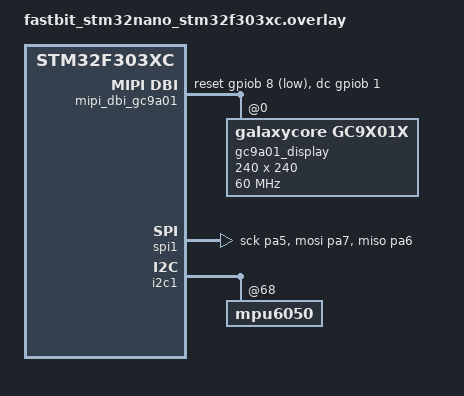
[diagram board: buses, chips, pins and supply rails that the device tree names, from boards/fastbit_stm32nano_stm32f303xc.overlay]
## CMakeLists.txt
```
#-------------------------------------------------------------------------------
# Zephyr Example Application
#
# Copyright (c) 2021 Nordic Semiconductor ASA
# SPDX-License-Identifier: Apache-2.0

cmake_minimum_required(VERSION 3.13.1)
find_package(Zephyr REQUIRED HINTS $ENV{ZEPHYR_BASE})

project(app LANGUAGES C)

target_include_directories(app PRIVATE include)

target_sources(app PRIVATE
    src/main.c
    src/display.c
    src/game.c
    src/render.c
    src/input.c
    src/util.c
)

target_sources_ifdef(CONFIG_INPUT_BACKEND_TILT app PRIVATE src/input_tilt.c)
```

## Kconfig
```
# Copyright (c) 2021 Nordic Semiconductor ASA
# SPDX-License-Identifier: Apache-2.0
#
# This file is the application Kconfig entry point. All application Kconfig
# options can be defined here or included via other application Kconfig files.
# You can browse these options using the west targets menuconfig (terminal) or
# guiconfig (GUI).

menu "Zephyr"
source "Kconfig.zephyr"
endmenu

menu "Tilt Brick Breaker"

menu "Input"

choice INPUT_BACKEND
	prompt "Input backend"
	default INPUT_BACKEND_TILT
	help
	  Selects which hardware input method controls the paddle.
	  Only one backend is compiled at a time.

config INPUT_BACKEND_TILT
	bool "MPU6050 tilt sensor"
	select I2C
	select SENSOR
	help
	  Use the onboard MPU6050 accelerometer for paddle control via
	  board tilt.  Tilt tuning options appear under "Tilt Input" below.

config INPUT_BACKEND_BUTTONS
	bool "Button input (future)"
	help
	  Placeholder for a future push-button or joystick input backend.
	  Not yet implemented.

endchoice

endmenu # Input

if INPUT_BACKEND_TILT

menu "Tilt Input"

config TILT_AXIS
	int "Accelerometer axis for paddle control (0=X 1=Y 2=Z)"
	range 0 2
	default 0
	help
	  Selects which MPU6050 accelerometer axis is read for left/right
	  paddle control.
	    0 = X axis (default -- horizontal, points right of board)
	    1 = Y axis (vertical, points toward top of board)
	    2 = Z axis (out-of-plane, points toward viewer)
	  See docs/spec.md section "Device Orientation" for the axis layout.

config TILT_INVERT
	bool "Invert tilt axis reading"
	default y
	help
	  Inverts the selected axis reading before mapping to paddle direction.
	    n = no inversion (positive reading -> paddle moves in positive direction)
	    y = invert       (positive reading -> paddle moves in negative direction)
	  Default: y -- on this board lifting the right side (+X up) produces a
	  negative X reading; inverting it gives right-side-up -> paddle right.
	  See docs/spec.md section "Tilt-to-Paddle Mapping".

config TILT_AXIS_SWAP
	bool "Swap X and Y accelerometer axes"
	default n
	help
	  Exchanges the X and Y channel values before any other processing.
	  Enable if the board is physically rotated 90 degrees from the
	  expected playing orientation described in docs/spec.md.
	    n = no swap (default -- normal playing orientation)
	    y = swap X and Y

config TILT_CALIBRATION_ENABLE
	bool "Enable startup tilt calibration"
	default y
	help
	  When enabled, the application averages several accelerometer readings
	  at power-on and subtracts that bias from all subsequent tilt values.
	  Compensates for sensor offset or a non-level resting position.
	    n = disabled (assume sensor bias is negligible)
	    y = enabled  (recommended -- reads TILT_CALIBRATION_SAMPLES samples)

config TILT_CALIBRATION_SAMPLES
	int "Number of calibration samples averaged at startup"
	depends on TILT_CALIBRATION_ENABLE
	range 1 256
	default 32
	help
	  Number of accelerometer samples averaged to establish the neutral
	  reference. More samples give a more stable zero but extend boot time.
	  At 100 Hz sample rate (MPU6050_SMPLRT_DIV = 9):
	     8 samples ~  80 ms
	    32 samples ~ 320 ms  (default placeholder)
	   128 samples ~  1.3 s
	  TODO: Confirm on hardware. See docs/spec.md -- Open Questions.

config TILT_DEAD_ZONE_MG
	int "Tilt dead zone threshold (milli-g)"
	range 0 500
	default 50
	help
	  Tilt readings whose absolute value is below this threshold are forced
	  to zero, preventing paddle drift when the board is held nearly level.
	  Units: milli-g  (1000 mg = 1 g = approx 9.81 m/s^2)
	     0 = dead zone disabled
	    20 = very small dead zone
	    50 = gentle dead zone (default placeholder)
	   100 = large dead zone, tolerates hand tremor well
	  TODO: Tune on hardware. See docs/spec.md -- Open Questions.

config TILT_LPF_ALPHA_PCT
	int "Low-pass filter alpha as a percentage (0-100)"
	range 0 100
	default 20
	help
	  Exponential moving average smoothing factor expressed as a percentage,
	  where 100 represents alpha = 1.0 (no filtering).
	  Applied each sample: filtered = alpha*raw + (1-alpha)*filtered_prev
	  In code use the TILT_LPF_ALPHA float helper from include/config.h,
	  which performs the conversion: alpha = TILT_LPF_ALPHA_PCT / 100.0f
	  Higher value -> more responsive, retains more jitter.
	  Lower value  -> smoother output, adds lag.
	   100 = filter disabled (raw reading)
	    50 = moderate smoothing
	    20 = strong smoothing (default placeholder)
	    10 = heavy smoothing, noticeably sluggish
	  TODO: Tune on hardware. See docs/spec.md -- Open Questions.

config TILT_MAX_MG
	int "Maximum tilt clamp (milli-g)"
	range 100 1000
	default 500
	help
	  Tilt magnitudes above this value (after the dead zone is removed) are
	  clamped before being normalised to a [0.0, 1.0] paddle velocity factor.
	  Defines the tilt angle that corresponds to full paddle speed.
	  Units: milli-g  (must be greater than TILT_DEAD_ZONE_MG)
	   300 = sensitive  (small tilt angle -> full paddle speed)
	   500 = moderate   (approx 30 degrees for full speed, default placeholder)
	   700 = requires a large deliberate tilt for full speed
	  TODO: Tune on hardware. See docs/spec.md -- Open Questions.

endmenu # Tilt Input

endif # INPUT_BACKEND_TILT

menu "Display"

menu "Display Geometry"

config DISPLAY_WIDTH
	int "Display width in pixels"
	range 1 65535
	default 240
	help
	  Horizontal resolution of the GC9A01 panel in pixels.
	  The GC9A01 native resolution is 240×240.

config DISPLAY_HEIGHT
	int "Display height in pixels"
	range 1 65535
	default 240
	help
	  Vertical resolution of the GC9A01 panel in pixels.
	  The GC9A01 native resolution is 240×240.

config DISPLAY_X_OFFSET
	int "Display column start offset"
	range 0 255
	default 0
	help
	  Column address offset applied when writing to the GC9A01 frame memory.
	  Non-zero only for misaligned knockoff panels where the visible area does
	  not start at column 0.

config DISPLAY_Y_OFFSET
	int "Display row start offset"
	range 0 255
	default 0
	help
	  Row address offset applied when writing to the GC9A01 frame memory.
	  Non-zero only for misaligned knockoff panels where the visible area does
	  not start at row 0.

endmenu # Display Geometry

menu "Display Orientation"

choice DISPLAY_ROTATION
	prompt "Display rotation"
	default DISPLAY_ROTATION_270
	help
	  Maps to the MADCTL register (0x36) MV/MX/MY bits in the GC9A01.
	  Try all four if the image is upside-down or mirrored on first boot.
	  Use west build -t menuconfig to change without touching source code.
	  See docs/spec.md section "GC9A01 Display Orientation" for the bit table.

config DISPLAY_ROTATION_0
	bool "0 degrees (default power-on)"
	help
	  MADCTL: MV=0 MX=0 MY=0.  Normal scan order; GC9A01 power-on default.

config DISPLAY_ROTATION_90
	bool "90 degrees clockwise"
	help
	  MADCTL: MV=1 MX=1 MY=0.  Row/column axes swapped, columns mirrored.

config DISPLAY_ROTATION_180
	bool "180 degrees"
	help
	  MADCTL: MV=0 MX=1 MY=1 (+MH).  Both row and column order reversed.

config DISPLAY_ROTATION_270
	bool "270 degrees clockwise"
	help
	  MADCTL: MV=1 MX=0 MY=1.  Row/column axes swapped, rows mirrored.

endchoice # DISPLAY_ROTATION

config DISPLAY_MIRROR_X
	bool "Mirror X axis (MADCTL MX bit)"
	default n
	help
	  Flips the horizontal axis independently of the rotation preset.
	  Enable if the image is horizontally mirrored after selecting the
	  correct rotation.
	    n = no horizontal flip (default)
	    y = flip left/right

config DISPLAY_MIRROR_Y
	bool "Mirror Y axis (MADCTL MY bit)"
	default n
	help
	  Flips the vertical axis independently of the rotation preset.
	  Enable if the image is vertically mirrored after selecting the
	  correct rotation.
	    n = no vertical flip (default)
	    y = flip top/bottom

config DISPLAY_SWAP_XY
	bool "Swap X/Y scan direction (MADCTL MV bit)"
	default n
	help
	  Exchanges row and column scan directions independently of the rotation
	  preset.  Enable if width and height appear transposed on screen.
	    n = normal scan order (default)
	    y = swap X and Y scan directions

config DISPLAY_BGR_ORDER
	bool "Use BGR colour byte order (MADCTL BGR bit)"
	default y
	help
	  Controls colour byte order sent to the GC9A01 panel.
	  The GC9A01 data sheet specifies a BGR panel; disable only if rendered
	  colours appear with red and blue channels swapped.
	    y = BGR order (default — matches GC9A01 panel)
	    n = RGB order

endmenu # Display Orientation

menu "Circular Display Safe Area"

config DISPLAY_IS_CIRCULAR
	bool "Display has a circular visible area"
	default y
	help
	  The GC9A01 module has a round glass; pixels outside the inscribed
	  circle are not visible.  Enabling this flag lets the renderer skip
	  drawing outside the circle, saving time and avoiding artefacts at
	  the panel edges.
	    y = circular mask active (default — GC9A01 round panel)
	    n = treat display as a full rectangle

config DISPLAY_CIRCLE_RADIUS
	int "Circular display radius in pixels"
	depends on DISPLAY_IS_CIRCULAR
	range 1 32767
	default 120
	help
	  Radius of the circular visible area in pixels.
	  Default 120 = half of the 240-pixel GC9A01 resolution.
	  Adjust if the visible circle does not fill the frame exactly.

config DISPLAY_CIRCLE_CENTER_X
	int "Circular display centre — X (column)"
	depends on DISPLAY_IS_CIRCULAR
	range 0 32767
	default 120
	help
	  Pixel column of the centre of the circular visible area.
	  Default 120 = centre of the 240-pixel-wide GC9A01 frame.

config DISPLAY_CIRCLE_CENTER_Y
	int "Circular display centre — Y (row)"
	depends on DISPLAY_IS_CIRCULAR
	range 0 32767
	default 120
	help
	  Pixel row of the centre of the circular visible area.
	  Default 120 = centre of the 240-pixel-tall GC9A01 frame.

endmenu # Circular Display Safe Area

endmenu # Display

endmenu # Tilt Brick Breaker

module = APP
module-str = APP
source "subsys/logging/Kconfig.template.log_config"
```

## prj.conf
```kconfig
# Copyright (c) 2021 Nordic Semiconductor ASA
# SPDX-License-Identifier: Apache-2.0
#
# This file contains selected Kconfig options for the application.

CONFIG_UART_CONSOLE=y
CONFIG_STDOUT_CONSOLE=y
CONFIG_DISPLAY=y
CONFIG_SPI=y
CONFIG_I2C=y
CONFIG_SENSOR=y
CONFIG_MPU6050_TRIGGER_NONE=y
CONFIG_INPUT_BACKEND_TILT=y
```

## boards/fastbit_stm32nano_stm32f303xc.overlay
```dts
#include <zephyr/dt-bindings/display/panel.h>

/* Fix 1b: HSI PLL → 64 MHz SYSCLK (max from HSI).
 * HSI (8 MHz) / 2 (fixed F3 divider) × 16 = 64 MHz.
 * APB2 = 64 MHz → SPI1 DIV2 = 32 MHz (was 4 MHz → 8× faster).
 * IMPORTANT: Must use pristine build (`west build -p`) when changing
 * clock-frequency so CONFIG_SYS_CLOCK_HW_CYCLES_PER_SEC updates
 * and flash wait states are set correctly (2 WS for >48 MHz).
 */
&clk_hsi {
    status = "okay";
};

&pll {
    prediv = <1>;
    mul = <16>;
    clocks = <&clk_hsi>;
    status = "okay";
};

&rcc {
    clocks = <&pll>;
    clock-frequency = <DT_FREQ_M(64)>;
    ahb-prescaler  = <1>;
    apb1-prescaler = <2>;
    apb2-prescaler = <1>;
};

/ {
    chosen {
        zephyr,display = &gc9a01_display;
    };

    mipi_dbi_gc9a01 {
        compatible = "zephyr,mipi-dbi-spi";
        spi-dev = <&spi1>;
        dc-gpios    = <&gpiob 1 GPIO_ACTIVE_HIGH>;
        reset-gpios = <&gpiob 8 GPIO_ACTIVE_LOW>;
        write-only;
        #address-cells = <1>;
        #size-cells = <0>;

        gc9a01_display: gc9a01@0 {
            compatible = "galaxycore,gc9x01x";
            reg = <0>;
            mipi-max-frequency = <DT_FREQ_M(60)>;
            width  = <240>;
            height = <240>;
            display-inversion;
            pixel-format = <PANEL_PIXEL_FORMAT_RGB_565>;
        };
    };
};

&spi1 {
    status = "okay";
    pinctrl-0 = <&spi1_sck_pa5 &spi1_mosi_pa7 &spi1_miso_pa6>;
    pinctrl-names = "default";
    cs-gpios = <&gpioa 4 GPIO_ACTIVE_LOW>;
};

/* Set MPU6050 accelerometer sample rate to 100 Hz (1000 / (1+9)).
 * The mpu6050@68 node already exists in the board DTS under &i2c1. */
&i2c1 {
    mpu6050@68 {
        smplrt-div = <9>;
    };
};
```

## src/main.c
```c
#include <zephyr/kernel.h>
#include "display.h"
#include "game.h"
#include "render.h"
#include "input.h"
#include "config.h"

int main(void)
{
	int ret = display_module_init();
	if (ret) { return ret; }

	/* Init input during startup screen to hide calibration delay */
	ret = input_init();
	if (ret) { return ret; }

	screen_draw_startup();
	k_msleep(2000);

	for (int i = 3; i >= 1; i--) {
		screen_draw_countdown(i);
		k_msleep(1000);
	}

	/* Initialize game state */
	static struct game_ctx ctx;
	game_init(&ctx);

	/* Initial full render */
	screen_draw_gameplay(ctx.bricks, ctx.paddle_x, ctx.ball_x, ctx.ball_y,
			     ctx.score, ctx.lives);

	/* Game loop */
	struct game_event_data evt;
	int64_t next_tick = k_uptime_get();

	while (ctx.state == GAME_STATE_RUNNING) {
		next_tick += FRAME_MS;

		game_events_t events = game_update(&ctx, input_read(), &evt);

		if (ctx.state != GAME_STATE_RUNNING) {
			break;
		}

		int pause_ms = render_frame(&ctx, events, &evt);

		if (pause_ms > 0) {
			k_msleep(pause_ms);
			next_tick = k_uptime_get();
			continue;
		}

		/* Frame timing — drop missed frames to keep speed consistent */
		int64_t now = k_uptime_get();
		int64_t remaining = next_tick - now;
		if (remaining > 0) {
			k_msleep((int32_t)remaining);
		} else {
			next_tick = now;
		}
	}

	/* End screen */
	screen_draw_end(ctx.state == GAME_STATE_WON, ctx.score);

	while (true) { k_msleep(1000); }
	return 0;
}
```

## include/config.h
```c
/*
 * config.h — User-configurable application settings
 *
 * Device orientation and tilt mapping settings are configured via Kconfig.
 * Browse and change them with: west build -t menuconfig
 * Look under "Tilt Brick Breaker" > "Tilt Input".
 *
 * This file contains only settings that cannot be expressed in Kconfig:
 *   - TILT_LPF_ALPHA: float conversion helper for CONFIG_TILT_LPF_ALPHA_PCT
 *     (Kconfig has no float type).
 *
 * All defaults are derived from docs/spec.md.
 */

#ifndef INCLUDE_CONFIG_H_
#define INCLUDE_CONFIG_H_

/* --------------------------------------------------------------------------
 * TILT_LPF_ALPHA — Float conversion helper for the Kconfig LPF setting
 * --------------------------------------------------------------------------
 * The smoothing factor is stored in Kconfig as an integer percentage
 * (CONFIG_TILT_LPF_ALPHA_PCT, range 0-100) because Kconfig has no float
 * type.  Use this macro in code for the float value; do not use
 * CONFIG_TILT_LPF_ALPHA_PCT directly.
 *
 * To change the value: west build -t menuconfig
 *   -> Tilt Brick Breaker -> Tilt Input -> Low-pass filter alpha percentage
 */
#define TILT_LPF_ALPHA  (CONFIG_TILT_LPF_ALPHA_PCT / 100.0f)

/* --------------------------------------------------------------------------
 * Game configuration — edit these macros to tune gameplay
 * -------------------------------------------------------------------------- */
#define BALL_SPEED_INIT      5      /* ball velocity magnitude (pixels/tick)  */
#define BALL_SPEED_MAX       7      /* maximum ball speed after ramp-up       */
#define SPEED_UP_INTERVAL    6      /* bricks destroyed per speed increase    */
#define LIVES_INIT           3      /* starting number of lives               */
#define BRICK_SCORE          10     /* points awarded per brick destroyed      */
#define FRAME_MS             33     /* target frame period in ms (~30 fps)    */

#endif /* INCLUDE_CONFIG_H_ */
```

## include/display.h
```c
#ifndef INCLUDE_DISPLAY_H_
#define INCLUDE_DISPLAY_H_

#include <stdint.h>
#include <stdbool.h>
#include "game_types.h"

/* Init — call once in main() */
int  display_module_init(void);

/* Primitives */
void draw_pixel(int x, int y, uint16_t color);
void draw_hline(int x, int y, int len, uint16_t color);
void fill_rect(int x, int y, int w, int h, uint16_t color);
void draw_rect_outline(int x, int y, int w, int h, uint16_t color);
void fill_circle(int cx, int cy, int r, uint16_t color);

/* Text (scale=1 -> 5x7 px, scale=2 -> 10x14 px, etc.) */
void draw_char(int x, int y, char c, uint16_t fg, uint16_t bg, uint8_t scale);
void draw_string(int x, int y, const char *s, uint16_t fg, uint16_t bg,
                 uint8_t scale);
void draw_int(int x, int y, int val, uint16_t fg, uint16_t bg, uint8_t scale);
void draw_int_right_aligned(int x_right, int y, int val, uint16_t fg,
                            uint16_t bg, uint8_t scale);

/* Screens */
void screen_clear(uint16_t color);
void screen_draw_startup(void);
void screen_draw_countdown(int n);
void screen_draw_gameplay(const uint8_t bricks[BRICK_ROWS][BRICK_COLS],
                          int paddle_x, int ball_x, int ball_y,
                          int score, int lives);
void screen_draw_end(bool won, int score);

/* Targeted HUD updates — no full-band redraw needed since ball never
 * enters the HUD area (bounces at WALL_TOP = HUD_HEIGHT). */
void screen_update_score(int score);
void screen_erase_heart(int lives_remaining);

/* Brick color for a given row (needed by main.c for brick repair) */
uint16_t gameplay_brick_color(int row);

#endif /* INCLUDE_DISPLAY_H_ */
```

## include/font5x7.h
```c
#ifndef FONT5X7_H
#define FONT5X7_H

#include <stdint.h>

/*
 * Standard 5x7 bitmap font — ASCII 0x20 (space) through 0x7F (DEL).
 * Each glyph is 5 bytes.  Byte N = column N, bit 0 = top row, bit 6 = bottom.
 * Public-domain data (same layout as Arduino / Adafruit GFX).
 */
static const uint8_t font5x7[][5] = {
	/* 0x20 ' ' */ { 0x00, 0x00, 0x00, 0x00, 0x00 },
	/* 0x21 '!' */ { 0x00, 0x00, 0x5F, 0x00, 0x00 },
	/* 0x22 '"' */ { 0x00, 0x07, 0x00, 0x07, 0x00 },
	/* 0x23 '#' */ { 0x14, 0x7F, 0x14, 0x7F, 0x14 },
	/* 0x24 '$' */ { 0x24, 0x2A, 0x7F, 0x2A, 0x12 },
	/* 0x25 '%' */ { 0x23, 0x13, 0x08, 0x64, 0x62 },
	/* 0x26 '&' */ { 0x36, 0x49, 0x55, 0x22, 0x50 },
	/* 0x27 ''' */ { 0x00, 0x05, 0x03, 0x00, 0x00 },
	/* 0x28 '(' */ { 0x00, 0x1C, 0x22, 0x41, 0x00 },
	/* 0x29 ')' */ { 0x00, 0x41, 0x22, 0x1C, 0x00 },
	/* 0x2A '*' */ { 0x14, 0x08, 0x3E, 0x08, 0x14 },
	/* 0x2B '+' */ { 0x08, 0x08, 0x3E, 0x08, 0x08 },
	/* 0x2C ',' */ { 0x00, 0x50, 0x30, 0x00, 0x00 },
	/* 0x2D '-' */ { 0x08, 0x08, 0x08, 0x08, 0x08 },
	/* 0x2E '.' */ { 0x00, 0x60, 0x60, 0x00, 0x00 },
	/* 0x2F '/' */ { 0x20, 0x10, 0x08, 0x04, 0x02 },
	/* 0x30 '0' */ { 0x3E, 0x51, 0x49, 0x45, 0x3E },
	/* 0x31 '1' */ { 0x00, 0x42, 0x7F, 0x40, 0x00 },
	/* 0x32 '2' */ { 0x42, 0x61, 0x51, 0x49, 0x46 },
	/* 0x33 '3' */ { 0x21, 0x41, 0x45, 0x4B, 0x31 },
	/* 0x34 '4' */ { 0x18, 0x14, 0x12, 0x7F, 0x10 },
	/* 0x35 '5' */ { 0x27, 0x45, 0x45, 0x45, 0x39 },
	/* 0x36 '6' */ { 0x3C, 0x4A, 0x49, 0x49, 0x30 },
	/* 0x37 '7' */ { 0x01, 0x71, 0x09, 0x05, 0x03 },
	/* 0x38 '8' */ { 0x36, 0x49, 0x49, 0x49, 0x36 },
	/* 0x39 '9' */ { 0x06, 0x49, 0x49, 0x29, 0x1E },
	/* 0x3A ':' */ { 0x00, 0x36, 0x36, 0x00, 0x00 },
	/* 0x3B ';' */ { 0x00, 0x56, 0x36, 0x00, 0x00 },
	/* 0x3C '<' */ { 0x08, 0x14, 0x22, 0x41, 0x00 },
	/* 0x3D '=' */ { 0x14, 0x14, 0x14, 0x14, 0x14 },
	/* 0x3E '>' */ { 0x00, 0x41, 0x22, 0x14, 0x08 },
	/* 0x3F '?' */ { 0x02, 0x01, 0x51, 0x09, 0x06 },
	/* 0x40 '@' */ { 0x32, 0x49, 0x79, 0x41, 0x3E },
	/* 0x41 'A' */ { 0x7E, 0x11, 0x11, 0x11, 0x7E },
	/* 0x42 'B' */ { 0x7F, 0x49, 0x49, 0x49, 0x36 },
	/* 0x43 'C' */ { 0x3E, 0x41, 0x41, 0x41, 0x22 },
	/* 0x44 'D' */ { 0x7F, 0x41, 0x41, 0x22, 0x1C },
	/* 0x45 'E' */ { 0x7F, 0x49, 0x49, 0x49, 0x41 },
	/* 0x46 'F' */ { 0x7F, 0x09, 0x09, 0x09, 0x01 },
	/* 0x47 'G' */ { 0x3E, 0x41, 0x49, 0x49, 0x7A },
	/* 0x48 'H' */ { 0x7F, 0x08, 0x08, 0x08, 0x7F },
	/* 0x49 'I' */ { 0x00, 0x41, 0x7F, 0x41, 0x00 },
	/* 0x4A 'J' */ { 0x20, 0x40, 0x41, 0x3F, 0x01 },
	/* 0x4B 'K' */ { 0x7F, 0x08, 0x14, 0x22, 0x41 },
	/* 0x4C 'L' */ { 0x7F, 0x40, 0x40, 0x40, 0x40 },
	/* 0x4D 'M' */ { 0x7F, 0x02, 0x0C, 0x02, 0x7F },
	/* 0x4E 'N' */ { 0x7F, 0x04, 0x08, 0x10, 0x7F },
	/* 0x4F 'O' */ { 0x3E, 0x41, 0x41, 0x41, 0x3E },
	/* 0x50 'P' */ { 0x7F, 0x09, 0x09, 0x09, 0x06 },
	/* 0x51 'Q' */ { 0x3E, 0x41, 0x51, 0x21, 0x5E },
	/* 0x52 'R' */ { 0x7F, 0x09, 0x19, 0x29, 0x46 },
	/* 0x53 'S' */ { 0x46, 0x49, 0x49, 0x49, 0x31 },
	/* 0x54 'T' */ { 0x01, 0x01, 0x7F, 0x01, 0x01 },
	/* 0x55 'U' */ { 0x3F, 0x40, 0x40, 0x40, 0x3F },
	/* 0x56 'V' */ { 0x1F, 0x20, 0x40, 0x20, 0x1F },
	/* 0x57 'W' */ { 0x3F, 0x40, 0x38, 0x40, 0x3F },
	/* 0x58 'X' */ { 0x63, 0x14, 0x08, 0x14, 0x63 },
	/* 0x59 'Y' */ { 0x07, 0x08, 0x70, 0x08, 0x07 },
	/* 0x5A 'Z' */ { 0x61, 0x51, 0x49, 0x45, 0x43 },
	/* 0x5B '[' */ { 0x00, 0x7F, 0x41, 0x41, 0x00 },
	/* 0x5C '\' */ { 0x02, 0x04, 0x08, 0x10, 0x20 },
	/* 0x5D ']' */ { 0x00, 0x41, 0x41, 0x7F, 0x00 },
	/* 0x5E '^' */ { 0x04, 0x02, 0x01, 0x02, 0x04 },
	/* 0x5F '_' */ { 0x40, 0x40, 0x40, 0x40, 0x40 },
	/* 0x60 '`' */ { 0x00, 0x01, 0x02, 0x04, 0x00 },
	/* 0x61 'a' */ { 0x20, 0x54, 0x54, 0x54, 0x78 },
	/* 0x62 'b' */ { 0x7F, 0x48, 0x44, 0x44, 0x38 },
	/* 0x63 'c' */ { 0x38, 0x44, 0x44, 0x44, 0x20 },
	/* 0x64 'd' */ { 0x38, 0x44, 0x44, 0x48, 0x7F },
	/* 0x65 'e' */ { 0x38, 0x54, 0x54, 0x54, 0x18 },
	/* 0x66 'f' */ { 0x08, 0x7E, 0x09, 0x01, 0x02 },
	/* 0x67 'g' */ { 0x0C, 0x52, 0x52, 0x52, 0x3E },
	/* 0x68 'h' */ { 0x7F, 0x08, 0x04, 0x04, 0x78 },
	/* 0x69 'i' */ { 0x00, 0x44, 0x7D, 0x40, 0x00 },
	/* 0x6A 'j' */ { 0x20, 0x40, 0x44, 0x3D, 0x00 },
	/* 0x6B 'k' */ { 0x7F, 0x10, 0x28, 0x44, 0x00 },
	/* 0x6C 'l' */ { 0x00, 0x41, 0x7F, 0x40, 0x00 },
	/* 0x6D 'm' */ { 0x7C, 0x04, 0x18, 0x04, 0x78 },
	/* 0x6E 'n' */ { 0x7C, 0x08, 0x04, 0x04, 0x78 },
	/* 0x6F 'o' */ { 0x38, 0x44, 0x44, 0x44, 0x38 },
	/* 0x70 'p' */ { 0x7C, 0x14, 0x14, 0x14, 0x08 },
	/* 0x71 'q' */ { 0x08, 0x14, 0x14, 0x18, 0x7C },
	/* 0x72 'r' */ { 0x7C, 0x08, 0x04, 0x04, 0x08 },
	/* 0x73 's' */ { 0x48, 0x54, 0x54, 0x54, 0x20 },
	/* 0x74 't' */ { 0x04, 0x3F, 0x44, 0x40, 0x20 },
	/* 0x75 'u' */ { 0x3C, 0x40, 0x40, 0x20, 0x7C },
	/* 0x76 'v' */ { 0x1C, 0x20, 0x40, 0x20, 0x1C },
	/* 0x77 'w' */ { 0x3C, 0x40, 0x30, 0x40, 0x3C },
	/* 0x78 'x' */ { 0x44, 0x28, 0x10, 0x28, 0x44 },
	/* 0x79 'y' */ { 0x0C, 0x50, 0x50, 0x50, 0x3C },
	/* 0x7A 'z' */ { 0x44, 0x64, 0x54, 0x4C, 0x44 },
	/* 0x7B '{' */ { 0x00, 0x08, 0x36, 0x41, 0x00 },
	/* 0x7C '|' */ { 0x00, 0x00, 0x7F, 0x00, 0x00 },
	/* 0x7D '}' */ { 0x00, 0x41, 0x36, 0x08, 0x00 },
	/* 0x7E '~' */ { 0x10, 0x08, 0x08, 0x10, 0x08 },
	/* 0x7F DEL */ { 0x7F, 0x41, 0x41, 0x41, 0x7F },
};

#endif /* FONT5X7_H */
```

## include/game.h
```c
#ifndef INCLUDE_GAME_H_
#define INCLUDE_GAME_H_

#include <stdbool.h>
#include "game_types.h"
#include "game_events.h"

/* ---- Game lifecycle state ---- */
enum game_state {
	GAME_STATE_RUNNING,
	GAME_STATE_PAUSED,
	GAME_STATE_WON,
	GAME_STATE_LOST,
};

/* ---- Game runtime context (all per-session data) ---- */
struct game_ctx {
	enum game_state state;
	uint8_t bricks[BRICK_ROWS][BRICK_COLS];
	int paddle_x;
	int ball_x, ball_y;
	int ball_dx, ball_dy;
	int score;
	int lives;
	int bricks_left;
	int speed;          /* current speed level (BALL_SPEED_INIT..BALL_SPEED_MAX) */
	int start_dir;      /* +1 or -1, alternates each life loss */
};

void game_init(struct game_ctx *ctx);
game_events_t game_update(struct game_ctx *ctx, int paddle_x,
			   struct game_event_data *evt);

#endif /* INCLUDE_GAME_H_ */
```

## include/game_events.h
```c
#ifndef INCLUDE_GAME_EVENTS_H_
#define INCLUDE_GAME_EVENTS_H_

#include <stdint.h>

/* Event flag bits — multiple events fire per tick, OR them together */
#define EVT_BALL_MOVED    0x01
#define EVT_PADDLE_MOVED  0x02
#define EVT_BRICK_HIT     0x04
#define EVT_SCORE_CHANGED 0x08
#define EVT_LIFE_LOST     0x10
#define EVT_GAME_WON      0x20
#define EVT_GAME_LOST     0x40

typedef uint8_t game_events_t;

/* Per-tick event data — filled by game_update(), consumed by render */
struct game_event_data {
	int old_ball_x, old_ball_y;
	int old_paddle_x;
	int hit_row, hit_col;
	int score;
	int lives;
};

#endif /* INCLUDE_GAME_EVENTS_H_ */
```

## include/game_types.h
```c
#ifndef INCLUDE_GAME_TYPES_H_
#define INCLUDE_GAME_TYPES_H_

#include <stdint.h>

/* ---- RGB565 colour palette (standard: R[15:11] G[10:5] B[4:0]) ----
 * Byte-swapping for the big-endian LCD happens inside commit_line(). */
#define COLOR_BLACK     0x0000
#define COLOR_WHITE     0xFFFF
#define COLOR_DARK_BLUE 0x0008
#define COLOR_CYAN      0x07FF
#define COLOR_YELLOW    0xFFE0
#define COLOR_RED       0xF800
#define COLOR_GREEN     0x07E0
#define COLOR_ORANGE    0xFD20
#define COLOR_BLUE      0x001F
#define COLOR_DARK_GREEN 0x0320
#define COLOR_DARK_RED   0x4000

/* ---- Brick grid layout ---- */
#define BRICK_COLS      8
#define BRICK_ROWS      5
#define BRICK_W         26
#define BRICK_H         14
#define BRICK_GAP       2
#define BRICK_ORIGIN_X  9
#define BRICK_ORIGIN_Y  30
#define BRICK_X(c)      (BRICK_ORIGIN_X + (c) * (BRICK_W + BRICK_GAP))
#define BRICK_Y(r)      (BRICK_ORIGIN_Y + (r) * (BRICK_H + BRICK_GAP))

/* ---- Paddle ---- */
#define PADDLE_W        40
#define PADDLE_H        10
#define PADDLE_Y        210
#define PADDLE_X_INIT   100 /* (240 - 40) / 2 */

/* Paddle X bounds: circular display narrows at PADDLE_Y.
 * Circle (120,120) r=120, at y=210: dx=floor(sqrt(120²-90²))=79.
 * Visible x: [41, 199]. Paddle (w=40) fits in [41, 160]. */
#if defined(CONFIG_DISPLAY_IS_CIRCULAR) && CONFIG_DISPLAY_IS_CIRCULAR
#define PADDLE_X_MIN    41
#define PADDLE_X_MAX    160
#else
#define PADDLE_X_MIN    0
#define PADDLE_X_MAX    (CONFIG_DISPLAY_WIDTH - PADDLE_W)
#endif

/* ---- Ball ---- */
#define BALL_RADIUS     6
#define BALL_X_INIT     120
#define BALL_Y_INIT     (PADDLE_Y - BALL_RADIUS)  /* ball rests on paddle */

/* ---- Circular display geometry (from Kconfig, when enabled) ---- */
#if defined(CONFIG_DISPLAY_IS_CIRCULAR) && CONFIG_DISPLAY_IS_CIRCULAR
#define DISPLAY_CX      CONFIG_DISPLAY_CIRCLE_CENTER_X
#define DISPLAY_CY      CONFIG_DISPLAY_CIRCLE_CENTER_Y
#define DISPLAY_R       CONFIG_DISPLAY_CIRCLE_RADIUS
#endif

/* ---- HUD ---- */
#define HUD_HEIGHT      25

/* ---- Bounce boundary — ball bounces at bottom edge of HUD ---- */
#define WALL_TOP         HUD_HEIGHT

/* ---- Brick state ---- */
typedef uint8_t brick_state_t; /* 0 = destroyed, 1 = active */

#endif /* INCLUDE_GAME_TYPES_H_ */
```

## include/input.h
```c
/*
 * input.h — Public input API for the game
 *
 * The game calls input_init() and input_read() without knowing which
 * hardware backend (tilt sensor, buttons, touch) is active.  The
 * active backend is selected at build time via Kconfig (INPUT_BACKEND_*).
 */

#ifndef INCLUDE_INPUT_H_
#define INCLUDE_INPUT_H_

/**
 * input_init() - Initialize the input subsystem.
 *
 * Delegates to the selected backend.  May perform startup calibration
 * (e.g. averaging accelerometer samples).  Call once before the game loop.
 *
 * @return 0 on success, negative errno on failure.
 */
int input_init(void);

/**
 * input_read() - Read one frame of input.
 *
 * Returns the absolute paddle X position mapped from the current tilt:
 *   0                          = full left
 *   (DISPLAY_WIDTH - PADDLE_W) = full right
 *   center                     = board level (or in dead zone)
 *
 * The caller assigns directly:
 *   paddle_x = input_read();
 */
int input_read(void);

#endif /* INCLUDE_INPUT_H_ */
```

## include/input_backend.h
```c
/*
 * input_backend.h — Backend contract for input drivers
 *
 * Every input backend (tilt, buttons, touch, …) must implement these
 * two functions.  Only one backend is compiled at a time, selected via
 * Kconfig (INPUT_BACKEND_*) and CMake target_sources_ifdef.
 *
 * This header is internal — game code includes input.h, not this file.
 */

#ifndef INCLUDE_INPUT_BACKEND_H_
#define INCLUDE_INPUT_BACKEND_H_

/**
 * input_backend_init() - Hardware-specific initialization.
 *
 * Acquire the device handle, perform calibration, initialize filters, etc.
 *
 * @return 0 on success, negative errno on failure.
 */
int input_backend_init(void);

/**
 * input_backend_read() - Hardware-specific input read.
 *
 * Fetch a fresh sample, run the signal processing pipeline, and return
 * the absolute paddle X position.
 *
 * @return Absolute paddle X position [0, DISPLAY_WIDTH - PADDLE_W].
 */
int input_backend_read(void);

#endif /* INCLUDE_INPUT_BACKEND_H_ */
```

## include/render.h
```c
#ifndef INCLUDE_RENDER_H_
#define INCLUDE_RENDER_H_

#include "game.h"

/*
 * render_frame() — Process game events and update the display.
 *
 * Call once per tick after game_update(). All event decoding and
 * differential rendering is handled internally.
 *
 * Returns milliseconds the caller should pause before the next frame
 * (0 for normal frames, >0 after a life-lost event).
 */
int render_frame(const struct game_ctx *ctx, game_events_t events,
		 const struct game_event_data *evt);

#endif /* INCLUDE_RENDER_H_ */
```

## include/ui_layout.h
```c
#ifndef INCLUDE_UI_LAYOUT_H_
#define INCLUDE_UI_LAYOUT_H_

/*
 * UI layout constants for all game screens.
 *
 * HOW POSITIONING WORKS
 * ---------------------
 * All vertical positions are signed pixel offsets from the display
 * centre (CONFIG_DISPLAY_CIRCLE_CENTER_Y).
 *   Negative = above centre,  Positive = below centre.
 *
 * Horizontal positions are computed at runtime so that text and
 * decorations are always centred on CONFIG_DISPLAY_CIRCLE_CENTER_X.
 *
 * HOW TEXT SIZE WORKS
 * -------------------
 * The 5x7 bitmap font is drawn at an integer "scale" multiplier:
 *   scale 1 -> each character is  5 x 7  pixels  (tiny)
 *   scale 2 -> each character is 10 x 14 pixels  (small)
 *   scale 3 -> each character is 15 x 21 pixels  (medium)
 *   scale 4 -> each character is 20 x 28 pixels  (large)
 * Character spacing is 6*scale pixels (5 glyph + 1 gap column).
 *
 * TEXT_WIDTH(len, scale) gives the total pixel width of a string
 * with `len` characters at the given scale.
 */

/* ---- Helper ---- */

/* Total pixel width of `len` characters at `scale`.
 * Each character occupies 6*scale pixels (5 glyph + 1 gap),
 * minus the trailing gap on the last character.              */
#define TEXT_WIDTH(len, scale) ((len) * 6 * (scale) - (scale))

/* ---- Startup / splash screen ---- */

/* Font scale for each text element.
 * Increase for larger text, decrease for smaller.
 * Valid range: 1-6 (larger values may exceed the display).     */
#define STARTUP_TITLE_SCALE        4   /* "TILT"         */
#define STARTUP_SUBTITLE_SCALE     3   /* "BREAKER"      */
#define STARTUP_HINT_SCALE         2   /* "TILT TO PLAY" */

/* Vertical pixel offset from display centre for each element.
 * Negative = higher on screen, positive = lower.
 * Adjust these to move elements up or down.                    */
#define STARTUP_BRICKS_Y_OFF     (-82) /* decorative brick row  */
#define STARTUP_TITLE_Y_OFF      (-52) /* game title top edge   */
#define STARTUP_SUBTITLE_Y_OFF   (-18) /* subtitle top edge     */
#define STARTUP_BALL_Y_OFF        (18) /* decorative ball centre */
#define STARTUP_PADDLE_Y_OFF      (35) /* decorative paddle top  */
#define STARTUP_HINT_Y_OFF        (65) /* hint text top edge    */

/* Decorative brick row — small coloured rectangles across the top.
 * Width/height are per-brick in pixels; gap is spacing between them.
 * Count is how many bricks to draw (colours cycle automatically).  */
#define STARTUP_BRICK_W            30  /* single brick width  (px) */
#define STARTUP_BRICK_H            12  /* single brick height (px) */
#define STARTUP_BRICK_GAP           4  /* gap between bricks  (px) */
#define STARTUP_BRICK_COUNT         5  /* number of bricks         */

/* Decorative paddle rectangle shown below the ball.               */
#define STARTUP_PADDLE_W           60  /* paddle width  (px)       */
#define STARTUP_PADDLE_H            8  /* paddle height (px)       */

/* ---- HUD (Heads-Up Display) ---- */

/* Font scale for HUD text elements.                                     */
#define HUD_SCORE_SCALE        1

/* Score label + value position.
 * X is left edge; Y is top edge of the text baseline.
 * At y ~ 16 the circular display spans roughly x = 61..179.            */
#define HUD_SCORE_X           65
#define HUD_SCORE_Y           16

/* Lives display — hearts drawn from right to left.
 * X is the centre of the rightmost heart; Y is the heart centre.       */
#define HUD_LIVES_X          172
#define HUD_LIVES_Y           19
#define HUD_HEART_SPACING     13  /* centre-to-centre distance (px)     */

/* ---- Countdown screen ---- */

/* Font scale for the countdown digit (3, 2, 1).
 * scale 4 -> digit is 20x28 px, clearly visible at screen centre. */
#define COUNTDOWN_SCALE             4

/* ---- End screen (win / lose) ---- */

/* Vertical pixel offsets from display centre.                           */
#define END_ICON_Y_OFF           (-40) /* trophy / X icon centre         */
#define END_MSG_Y_OFF             (28) /* "WIN!" / "LOSE" top edge       */
#define END_SCORE_Y_OFF          (75) /* "SCORE 123" line top edge       */

/* Font scales.                                                          */
#define END_MSG_SCALE              3   /* result message                  */
#define END_SCORE_SCALE            2   /* "SCORE 123" line               */

#endif /* INCLUDE_UI_LAYOUT_H_ */
```

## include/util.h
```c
#ifndef INCLUDE_UTIL_H_
#define INCLUDE_UTIL_H_

#include <stdint.h>
#include <stdbool.h>

int clamp_i(int v, int lo, int hi);
int isqrt_i(int n);

#endif /* INCLUDE_UTIL_H_ */
```

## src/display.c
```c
#include <stdio.h>
#include <zephyr/kernel.h>
#include <zephyr/drivers/display.h>
#include <zephyr/devicetree.h>
#include <zephyr/sys/byteorder.h>

#include "display.h"
#include "game_types.h"
#include "font5x7.h"
#include "ui_layout.h"

#include "util.h"

static const struct device *disp_dev;

#define BUF_PIXELS 1024 /* 1024 × 2 bytes = 2 KB */
static uint16_t line_buf[BUF_PIXELS];

/* ---- Internal: write line_buf[0..w*h-1] to display at (x,y) ---- */
static void commit_block(int x, int y, int w, int h)
{
	int count = w * h;

	for (int i = 0; i < count; i++) {
		line_buf[i] = sys_cpu_to_be16(line_buf[i]);
	}
	struct display_buffer_descriptor d = {
		.buf_size = (uint32_t)count * sizeof(uint16_t),
		.width    = (uint16_t)w,
		.height   = (uint16_t)h,
		.pitch    = (uint16_t)w,
	};
	display_write(disp_dev, (uint16_t)x, (uint16_t)y, &d, line_buf);
}

static void commit_line(int x, int y, int w)
{
	commit_block(x, y, w, 1);
}

/* ---- Circular clipping ---- */

static bool circle_row_span(int y, int *x_min, int *x_max)
{
#if defined(CONFIG_DISPLAY_IS_CIRCULAR) && CONFIG_DISPLAY_IS_CIRCULAR
	int dy  = y - CONFIG_DISPLAY_CIRCLE_CENTER_Y;
	int r   = CONFIG_DISPLAY_CIRCLE_RADIUS;
	int r2  = r * r;
	int dy2 = dy * dy;
	if (dy2 >= r2) {
		return false;
	}
	int dx = isqrt_i(r2 - dy2);
	*x_min = CONFIG_DISPLAY_CIRCLE_CENTER_X - dx;
	*x_max = CONFIG_DISPLAY_CIRCLE_CENTER_X + dx;
	return true;
#else
	*x_min = 0;
	*x_max = CONFIG_DISPLAY_WIDTH - 1;
	return true;
#endif
}

/* ---- Primitives ---- */

void draw_pixel(int x, int y, uint16_t color)
{
	int vis_min, vis_max;
	if (!circle_row_span(y, &vis_min, &vis_max)) return;
	if (x < vis_min || x > vis_max) return;
	line_buf[0] = color;
	commit_line(x, y, 1);
}

void draw_hline(int x, int y, int len, uint16_t color)
{
	if (len <= 0) return;

	int vis_min, vis_max;
	if (!circle_row_span(y, &vis_min, &vis_max)) return;

	int x_end = x + len - 1;
	if (x < vis_min) x = vis_min;
	if (x_end > vis_max) x_end = vis_max;
	int clipped_len = x_end - x + 1;
	if (clipped_len <= 0) return;
	if (clipped_len > CONFIG_DISPLAY_WIDTH) clipped_len = CONFIG_DISPLAY_WIDTH;

	for (int i = 0; i < clipped_len; i++) {
		line_buf[i] = color;
	}
	commit_line(x, y, clipped_len);
}

void fill_rect(int x, int y, int w, int h, uint16_t color)
{
	if (w <= 0 || h <= 0) return;

	int row = 0;

	while (row < h) {
		int cy = y + row;
		int vis_min, vis_max;

		if (!circle_row_span(cy, &vis_min, &vis_max)) {
			row++;
			continue;
		}

		int x0 = x, x1 = x + w - 1;

		if (x0 < vis_min) x0 = vis_min;
		if (x1 > vis_max) x1 = vis_max;

		int cw = x1 - x0 + 1;

		if (cw <= 0) {
			row++;
			continue;
		}

		/* Count consecutive rows with identical clipped span */
		int max_rows = BUF_PIXELS / cw;

		if (max_rows < 1) max_rows = 1;

		int batch = 1;

		while (batch < max_rows && row + batch < h) {
			int ny = y + row + batch;
			int nmin, nmax;

			if (!circle_row_span(ny, &nmin, &nmax)) break;

			int nx0 = x, nx1 = x + w - 1;

			if (nx0 < nmin) nx0 = nmin;
			if (nx1 > nmax) nx1 = nmax;
			if (nx0 != x0 || nx1 != x1) break;
			batch++;
		}

		int count = cw * batch;

		for (int i = 0; i < count; i++) {
			line_buf[i] = color;
		}
		commit_block(x0, cy, cw, batch);
		row += batch;
	}
}

void draw_rect_outline(int x, int y, int w, int h, uint16_t color)
{
	draw_hline(x, y, w, color);             /* top */
	draw_hline(x, y + h - 1, w, color);     /* bottom */
	for (int row = 1; row < h - 1; row++) { /* left + right columns */
		draw_pixel(x, y + row, color);
		draw_pixel(x + w - 1, y + row, color);
	}
}

void fill_circle(int cx, int cy, int r, uint16_t color)
{
	for (int dy = -r; dy <= r; dy++) {
		int dx = isqrt_i(r * r - dy * dy);
		draw_hline(cx - dx, cy + dy, 2 * dx + 1, color);
	}
}

/* ---- Text rendering ---- */

void draw_char(int x, int y, char c, uint16_t fg, uint16_t bg, uint8_t scale)
{
	if (c < 0x20 || c > 0x7F) {
		c = 0x7F; /* show box for out-of-range */
	}
	const uint8_t *glyph = font5x7[c - 0x20];

	for (int col = 0; col < 5; col++) {
		uint8_t coldata = glyph[col];
		for (int row = 0; row < 7; row++) {
			uint16_t color = (coldata & (1 << row)) ? fg : bg;
			if (scale == 1) {
				draw_pixel(x + col, y + row, color);
			} else {
				fill_rect(x + col * scale, y + row * scale,
					  scale, scale, color);
			}
		}
	}
}

void draw_string(int x, int y, const char *s, uint16_t fg, uint16_t bg,
		 uint8_t scale)
{
	while (*s) {
		draw_char(x, y, *s, fg, bg, scale);
		x += 6 * scale; /* 5 columns + 1 gap */
		s++;
	}
}

void draw_int(int x, int y, int val, uint16_t fg, uint16_t bg, uint8_t scale)
{
	char buf[12];
	int len = 0;
	int neg = 0;

	if (val < 0) {
		neg = 1;
		val = -val;
	}
	if (val == 0) {
		buf[len++] = '0';
	} else {
		while (val > 0) {
			buf[len++] = '0' + (val % 10);
			val /= 10;
		}
	}
	if (neg) {
		buf[len++] = '-';
	}

	/* Reverse in-place */
	for (int i = 0; i < len / 2; i++) {
		char tmp = buf[i];
		buf[i] = buf[len - 1 - i];
		buf[len - 1 - i] = tmp;
	}
	buf[len] = '\0';

	draw_string(x, y, buf, fg, bg, scale);
}

void draw_int_right_aligned(int x_right, int y, int val, uint16_t fg,
			    uint16_t bg, uint8_t scale)
{
	char buf[12];
	int len = 0;
	int neg = 0;

	if (val < 0) {
		neg = 1;
		val = -val;
	}
	if (val == 0) {
		buf[len++] = '0';
	} else {
		while (val > 0) {
			buf[len++] = '0' + (val % 10);
			val /= 10;
		}
	}
	if (neg) {
		buf[len++] = '-';
	}

	for (int i = 0; i < len / 2; i++) {
		char tmp = buf[i];
		buf[i] = buf[len - 1 - i];
		buf[len - 1 - i] = tmp;
	}
	buf[len] = '\0';

	int width = len * 6 * scale - scale;
	draw_string(x_right - width, y, buf, fg, bg, scale);
}

/* ---- Screen helpers ---- */

void screen_clear(uint16_t color)
{
	uint16_t be_color = sys_cpu_to_be16(color);
	int rows_per_batch = BUF_PIXELS / CONFIG_DISPLAY_WIDTH;
	int pixels_per_batch = rows_per_batch * CONFIG_DISPLAY_WIDTH;

	for (int i = 0; i < pixels_per_batch; i++) {
		line_buf[i] = be_color;
	}
	struct display_buffer_descriptor d = {
		.buf_size = (uint32_t)pixels_per_batch * sizeof(uint16_t),
		.width    = CONFIG_DISPLAY_WIDTH,
		.height   = (uint16_t)rows_per_batch,
		.pitch    = CONFIG_DISPLAY_WIDTH,
	};
	for (int y = 0; y < CONFIG_DISPLAY_HEIGHT; y += rows_per_batch) {
		int h = rows_per_batch;

		if (y + h > CONFIG_DISPLAY_HEIGHT) {
			h = CONFIG_DISPLAY_HEIGHT - y;
			d.buf_size = (uint32_t)(h * CONFIG_DISPLAY_WIDTH)
				   * sizeof(uint16_t);
			d.height = (uint16_t)h;
		}
		display_write(disp_dev, 0, (uint16_t)y, &d, line_buf);
	}
}

void screen_draw_startup(void)
{
	int cx = CONFIG_DISPLAY_CIRCLE_CENTER_X;
	int cy = CONFIG_DISPLAY_CIRCLE_CENTER_Y;

	display_blanking_on(disp_dev);
	screen_clear(COLOR_DARK_BLUE);

	/* Decorative brick row */
	static const uint16_t brick_colors[] = {
		COLOR_RED, COLOR_ORANGE, COLOR_YELLOW, COLOR_GREEN, COLOR_CYAN
	};
	int total_bricks_w = STARTUP_BRICK_COUNT * STARTUP_BRICK_W
			   + (STARTUP_BRICK_COUNT - 1) * STARTUP_BRICK_GAP;
	int bx = cx - total_bricks_w / 2;

	for (int i = 0; i < STARTUP_BRICK_COUNT; i++) {
		fill_rect(bx + i * (STARTUP_BRICK_W + STARTUP_BRICK_GAP),
			  cy + STARTUP_BRICKS_Y_OFF,
			  STARTUP_BRICK_W, STARTUP_BRICK_H,
			  brick_colors[i % ARRAY_SIZE(brick_colors)]);
	}

	/* Title: "BRICK" */
	int tw = TEXT_WIDTH(5, STARTUP_TITLE_SCALE);
	draw_string(cx - tw / 2, cy + STARTUP_TITLE_Y_OFF,
		    "BRICK", COLOR_WHITE, COLOR_DARK_BLUE,
		    STARTUP_TITLE_SCALE);

	/* Subtitle: "BREAKER" */
	int sw = TEXT_WIDTH(7, STARTUP_SUBTITLE_SCALE);
	draw_string(cx - sw / 2, cy + STARTUP_SUBTITLE_Y_OFF,
		    "BREAKER", COLOR_CYAN, COLOR_DARK_BLUE,
		    STARTUP_SUBTITLE_SCALE);

	/* Decorative ball */
	fill_circle(cx, cy + STARTUP_BALL_Y_OFF, BALL_RADIUS, COLOR_YELLOW);

	/* Decorative paddle */
	fill_rect(cx - STARTUP_PADDLE_W / 2, cy + STARTUP_PADDLE_Y_OFF,
		  STARTUP_PADDLE_W, STARTUP_PADDLE_H, COLOR_WHITE);

	/* "TILT TO PLAY" hint */
	int hw = TEXT_WIDTH(12, STARTUP_HINT_SCALE);
	draw_string(cx - hw / 2, cy + STARTUP_HINT_Y_OFF,
		    "TILT TO PLAY", COLOR_WHITE, COLOR_DARK_BLUE,
		    STARTUP_HINT_SCALE);
	display_blanking_off(disp_dev);
}

void screen_draw_countdown(int n)
{
	int cx = CONFIG_DISPLAY_CIRCLE_CENTER_X;
	int cy = CONFIG_DISPLAY_CIRCLE_CENTER_Y;

	display_blanking_on(disp_dev);
	screen_clear(COLOR_BLACK);

	/* Large centered digit */
	int dw = TEXT_WIDTH(1, COUNTDOWN_SCALE);
	int dh = 7 * COUNTDOWN_SCALE;

	draw_int(cx - dw / 2, cy - dh / 2, n, COLOR_WHITE, COLOR_BLACK,
		 COUNTDOWN_SCALE);
	display_blanking_off(disp_dev);
}

/* ---- Gameplay screen helpers ---- */

static const uint16_t gameplay_brick_colors[BRICK_ROWS] = {
	COLOR_RED, COLOR_ORANGE, COLOR_YELLOW, COLOR_GREEN, COLOR_BLUE
};

static void draw_heart(int cx, int cy, uint16_t color)
{
	/* Two bumps at top */
	fill_circle(cx - 2, cy - 1, 2, color);
	fill_circle(cx + 2, cy - 1, 2, color);
	/* V-shape bottom */
	for (int dy = 1; dy <= 4; dy++) {
		int hw = 4 - dy;
		draw_hline(cx - hw, cy + dy, 2 * hw + 1, color);
	}
}

static void draw_score_text(int x, int y, int score, uint16_t fg,
			    uint16_t bg, uint8_t scale)
{
	char buf[18];

	snprintf(buf, sizeof(buf), "SCORE %d", score);
	draw_string(x, y, buf, fg, bg, scale);
}

static void draw_hud(int score, int lives)
{
	/* HUD band background */
	fill_rect(0, 0, CONFIG_DISPLAY_WIDTH, HUD_HEIGHT, COLOR_BLACK);

	/* Score — left side of visible area */
	draw_score_text(HUD_SCORE_X, HUD_SCORE_Y, score,
			COLOR_CYAN, COLOR_BLACK, HUD_SCORE_SCALE);

	/* Lives — hearts on the right, max 3 */
	int n = lives > 3 ? 3 : lives;
	for (int i = 0; i < n; i++) {
		draw_heart(HUD_LIVES_X - i * HUD_HEART_SPACING,
			   HUD_LIVES_Y, COLOR_RED);
	}
}

static void draw_bricks(const uint8_t bricks[BRICK_ROWS][BRICK_COLS])
{
	for (int r = 0; r < BRICK_ROWS; r++) {
		for (int c = 0; c < BRICK_COLS; c++) {
			uint16_t color = bricks[r][c]
				? gameplay_brick_colors[r]
				: COLOR_DARK_BLUE;
			fill_rect(BRICK_X(c), BRICK_Y(r),
				  BRICK_W, BRICK_H, color);
		}
	}
}

static void draw_paddle(int x)
{
	fill_rect(x, PADDLE_Y, PADDLE_W, PADDLE_H, COLOR_WHITE);
}

static void draw_ball(int x, int y)
{
	fill_circle(x, y, BALL_RADIUS, COLOR_YELLOW);
}

void screen_draw_gameplay(const uint8_t bricks[BRICK_ROWS][BRICK_COLS],
			  int paddle_x, int ball_x, int ball_y,
			  int score, int lives)
{
	display_blanking_on(disp_dev);

	screen_clear(COLOR_DARK_BLUE);
	draw_hud(score, lives);
	draw_bricks(bricks);
	draw_paddle(paddle_x);
	draw_ball(ball_x, ball_y);

	display_blanking_off(disp_dev);
}

/* ---- End screen helpers ---- */

static void draw_trophy(int cx, int cy, uint16_t bg)
{
	/* Cup body: bottom half of a filled circle */
	fill_circle(cx, cy, 22, COLOR_YELLOW);
	fill_rect(cx - 22, cy - 23, 44, 23, bg);

	/* Handles */
	fill_rect(cx - 28, cy - 8, 6, 16, COLOR_YELLOW);
	fill_rect(cx + 22, cy - 8, 6, 16, COLOR_YELLOW);

	/* Stem */
	fill_rect(cx - 4, cy + 22, 8, 14, COLOR_YELLOW);

	/* Base */
	fill_rect(cx - 18, cy + 36, 36, 6, COLOR_YELLOW);
}

static void draw_x_icon(int cx, int cy)
{
	for (int i = -20; i <= 20; i++) {
		draw_hline(cx + i - 3, cy + i, 7, COLOR_WHITE);
		draw_hline(cx - i - 3, cy + i, 7, COLOR_WHITE);
	}
}

void screen_draw_end(bool won, int score)
{
	int cx = CONFIG_DISPLAY_CIRCLE_CENTER_X;
	int cy = CONFIG_DISPLAY_CIRCLE_CENTER_Y;
	uint16_t bg = won ? COLOR_DARK_GREEN : COLOR_DARK_RED;

	display_blanking_on(disp_dev);
	screen_clear(bg);

	if (won) {
		draw_trophy(cx, cy + END_ICON_Y_OFF, bg);
	} else {
		draw_x_icon(cx, cy + END_ICON_Y_OFF);
	}

	const char *msg = won ? "WIN!" : "LOSE";
	int mw = TEXT_WIDTH(4, END_MSG_SCALE);

	draw_string(cx - mw / 2, cy + END_MSG_Y_OFF, msg,
		    COLOR_YELLOW, bg, END_MSG_SCALE);

	char sbuf[18];

	snprintf(sbuf, sizeof(sbuf), "SCORE %d", score);

	int slen = 0;

	for (const char *p = sbuf; *p; p++) slen++;

	int sw = TEXT_WIDTH(slen, END_SCORE_SCALE);

	draw_string(cx - sw / 2, cy + END_SCORE_Y_OFF, sbuf,
		    COLOR_WHITE, bg, END_SCORE_SCALE);

	display_blanking_off(disp_dev);
}

/* ---- Targeted HUD updates ---- */

void screen_update_score(int score)
{
	draw_score_text(HUD_SCORE_X, HUD_SCORE_Y, score,
			COLOR_CYAN, COLOR_BLACK, HUD_SCORE_SCALE);
}

void screen_erase_heart(int lives_remaining)
{
	draw_heart(HUD_LIVES_X - lives_remaining * HUD_HEART_SPACING,
		   HUD_LIVES_Y, COLOR_BLACK);
}

uint16_t gameplay_brick_color(int row)
{
	return gameplay_brick_colors[row];
}

/* ---- Module init ---- */

int display_module_init(void)
{
	disp_dev = DEVICE_DT_GET(DT_CHOSEN(zephyr_display));
	if (!device_is_ready(disp_dev)) {
		return -ENODEV;
	}

#if defined(CONFIG_DISPLAY_ROTATION_90) && CONFIG_DISPLAY_ROTATION_90
	display_set_orientation(disp_dev, DISPLAY_ORIENTATION_ROTATED_90);
#elif defined(CONFIG_DISPLAY_ROTATION_180) && CONFIG_DISPLAY_ROTATION_180
	display_set_orientation(disp_dev, DISPLAY_ORIENTATION_ROTATED_180);
#elif defined(CONFIG_DISPLAY_ROTATION_270) && CONFIG_DISPLAY_ROTATION_270
	display_set_orientation(disp_dev, DISPLAY_ORIENTATION_ROTATED_270);
#else
	display_set_orientation(disp_dev, DISPLAY_ORIENTATION_NORMAL);
#endif

	display_blanking_off(disp_dev);
	return 0;
}
```
